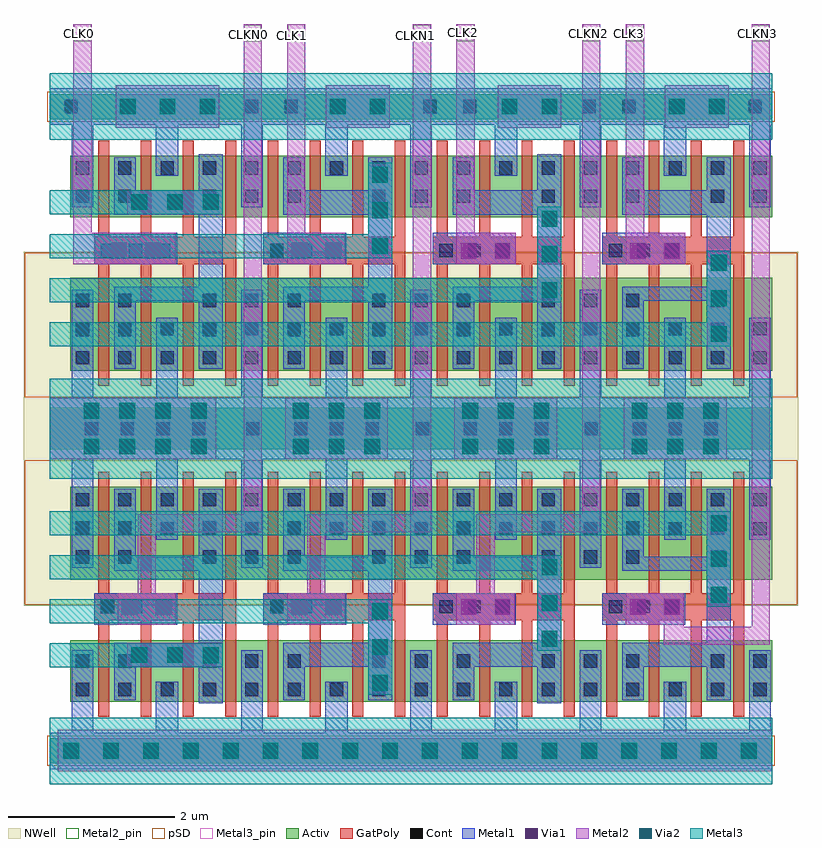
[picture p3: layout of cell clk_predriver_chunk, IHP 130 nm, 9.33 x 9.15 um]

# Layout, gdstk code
import gdstk
lib = gdstk.Library(unit=1e-6, precision=1e-09)
def R(c, l, rs):  # rectangles x0, y0, x1, y1
    for r in rs: c.add(gdstk.rectangle(r[:2], r[2:], *l))
def A(c, l, x, y, w, h, nx, ny, dx, dy):  # array of equal rectangles
    R(c, l, [(x+i*dx, y+j*dy, x+i*dx+w, y+j*dy+h) for i in range(nx) for j in range(ny)])
def P(c, l, *ps):  # polygons
    for p in ps: c.add(gdstk.Polygon(p, *l))
Activ = (1, 0)
GatPoly = (5, 0)
Cont = (6, 0)
Metal1 = (8, 0)
Metal2 = (10, 0)
Metal2_pin = (10, 2)
pSD = (14, 0)
Via1 = (19, 0)
Via2 = (29, 0)
Metal3 = (30, 0)
Metal3_pin = (30, 2)
NWell = (31, 0)

clk_predriver_chunk = lib.new_cell('clk_predriver_chunk')
A(clk_predriver_chunk, Activ, 0.245, -0.415, 2.34, 0.74, 4, 2, 2.04, 5.84)
A(clk_predriver_chunk, Activ, 0.245, 1.055, 2.34, 1.12, 4, 2, 2.04, 2.52)
R(clk_predriver_chunk, Activ, [(0,-1.155,8.705,-0.855), (0,2.625,8.705,3.125), (0,2.625,8.705,3.125), (0,6.605,8.705,6.905)])
P(clk_predriver_chunk, GatPoly, [(4.665,3.395),(4.665,4.855),(4.615,4.855),(4.615,5.185),(4.665,5.185),(4.665,6.345),(4.795,6.345),(4.795,5.185),(5.175,5.185),(5.175,6.345),(5.305,6.345),(5.305,5.185),(5.685,5.185),(5.685,6.345),(5.815,6.345),(5.815,5.185),(6.195,5.185),(6.195,6.345),(6.325,6.345),(6.325,3.395),(6.195,3.395),(6.195,4.855),(5.815,4.855),(5.815,3.395),(5.685,3.395),(5.685,4.855),(5.305,4.855),(5.305,3.395),(5.175,3.395),(5.175,4.855),(4.795,4.855),(4.795,3.395)],
  [(6.705,3.395),(6.705,4.855),(6.655,4.855),(6.655,5.185),(6.705,5.185),(6.705,6.345),(6.835,6.345),(6.835,5.185),(7.215,5.185),(7.215,6.345),(7.345,6.345),(7.345,5.185),(7.725,5.185),(7.725,6.345),(7.855,6.345),(7.855,5.185),(8.235,5.185),(8.235,6.345),(8.365,6.345),(8.365,3.395),(8.235,3.395),(8.235,4.855),(7.855,4.855),(7.855,3.395),(7.725,3.395),(7.725,4.855),(7.345,4.855),(7.345,3.395),(7.215,3.395),(7.215,4.855),(6.835,4.855),(6.835,3.395)],
  [(0.585,-0.595),(0.585,0.565),(0.535,0.565),(0.535,0.895),(0.585,0.895),(0.585,2.355),(0.715,2.355),(0.715,0.895),(1.095,0.895),(1.095,2.355),(1.225,2.355),(1.225,0.895),(1.605,0.895),(1.605,2.355),(1.735,2.355),(1.735,0.895),(2.115,0.895),(2.115,2.355),(2.245,2.355),(2.245,-0.595),(2.115,-0.595),(2.115,0.565),(1.735,0.565),(1.735,-0.595),(1.605,-0.595),(1.605,0.565),(1.225,0.565),(1.225,-0.595),(1.095,-0.595),(1.095,0.565),(0.715,0.565),(0.715,-0.595)],
  [(2.625,3.395),(2.625,4.855),(2.575,4.855),(2.575,5.185),(2.625,5.185),(2.625,6.345),(2.755,6.345),(2.755,5.185),(3.135,5.185),(3.135,6.345),(3.265,6.345),(3.265,5.185),(3.645,5.185),(3.645,6.345),(3.775,6.345),(3.775,5.185),(4.155,5.185),(4.155,6.345),(4.285,6.345),(4.285,3.395),(4.155,3.395),(4.155,4.855),(3.775,4.855),(3.775,3.395),(3.645,3.395),(3.645,4.855),(3.265,4.855),(3.265,3.395),(3.135,3.395),(3.135,4.855),(2.755,4.855),(2.755,3.395)],
  [(4.665,-0.595),(4.665,0.565),(4.615,0.565),(4.615,0.895),(4.665,0.895),(4.665,2.355),(4.795,2.355),(4.795,0.895),(5.175,0.895),(5.175,2.355),(5.305,2.355),(5.305,0.895),(5.685,0.895),(5.685,2.355),(5.815,2.355),(5.815,0.895),(6.195,0.895),(6.195,2.355),(6.325,2.355),(6.325,-0.595),(6.195,-0.595),(6.195,0.565),(5.815,0.565),(5.815,-0.595),(5.685,-0.595),(5.685,0.565),(5.305,0.565),(5.305,-0.595),(5.175,-0.595),(5.175,0.565),(4.795,0.565),(4.795,-0.595)],
  [(6.705,-0.595),(6.705,0.565),(6.655,0.565),(6.655,0.895),(6.705,0.895),(6.705,2.355),(6.835,2.355),(6.835,0.895),(7.215,0.895),(7.215,2.355),(7.345,2.355),(7.345,0.895),(7.725,0.895),(7.725,2.355),(7.855,2.355),(7.855,0.895),(8.235,0.895),(8.235,2.355),(8.365,2.355),(8.365,-0.595),(8.235,-0.595),(8.235,0.565),(7.855,0.565),(7.855,-0.595),(7.725,-0.595),(7.725,0.565),(7.345,0.565),(7.345,-0.595),(7.215,-0.595),(7.215,0.565),(6.835,0.565),(6.835,-0.595)],
  [(0.585,3.395),(0.585,4.855),(0.535,4.855),(0.535,5.185),(0.585,5.185),(0.585,6.345),(0.715,6.345),(0.715,5.185),(1.095,5.185),(1.095,6.345),(1.225,6.345),(1.225,5.185),(1.605,5.185),(1.605,6.345),(1.735,6.345),(1.735,5.185),(2.115,5.185),(2.115,6.345),(2.245,6.345),(2.245,3.395),(2.115,3.395),(2.115,4.855),(1.735,4.855),(1.735,3.395),(1.605,3.395),(1.605,4.855),(1.225,4.855),(1.225,3.395),(1.095,3.395),(1.095,4.855),(0.715,4.855),(0.715,3.395)],
  [(2.625,-0.595),(2.625,0.565),(2.575,0.565),(2.575,0.895),(2.625,0.895),(2.625,2.355),(2.755,2.355),(2.755,0.895),(3.135,0.895),(3.135,2.355),(3.265,2.355),(3.265,0.895),(3.645,0.895),(3.645,2.355),(3.775,2.355),(3.775,0.895),(4.155,0.895),(4.155,2.355),(4.285,2.355),(4.285,-0.595),(4.155,-0.595),(4.155,0.565),(3.775,0.565),(3.775,-0.595),(3.645,-0.595),(3.645,0.565),(3.265,0.565),(3.265,-0.595),(3.135,-0.595),(3.135,0.565),(2.755,0.565),(2.755,-0.595)])
A(clk_predriver_chunk, Cont, 0.18, -1.085, 0.16, 0.16, 18, 1, 0.48, 0)
A(clk_predriver_chunk, Cont, 0.315, -0.345, 0.16, 0.16, 17, 2, 0.51, 2.285)
A(clk_predriver_chunk, Cont, 1.845, -0.005, 0.16, 0.16, 3, 2, 0.51, 1.255)
A(clk_predriver_chunk, Cont, 3.885, -0.005, 0.16, 0.16, 3, 2, 0.51, 1.255)
A(clk_predriver_chunk, Cont, 5.925, -0.005, 0.16, 0.16, 3, 2, 0.51, 1.255)
A(clk_predriver_chunk, Cont, 0.615, 0.65, 0.16, 0.16, 3, 2, 0.34, 4.29)
A(clk_predriver_chunk, Cont, 2.655, 0.65, 0.16, 0.16, 3, 2, 0.34, 4.29)
A(clk_predriver_chunk, Cont, 4.695, 0.65, 0.16, 0.16, 3, 2, 0.34, 4.29)
A(clk_predriver_chunk, Cont, 6.735, 0.65, 0.16, 0.16, 3, 2, 0.34, 4.29)
A(clk_predriver_chunk, Cont, 1.335, 1.59, 0.16, 0.16, 8, 2, 1.02, 2.41)
A(clk_predriver_chunk, Cont, 0.825, 1.6, 0.16, 0.16, 8, 2, 1.02, 2.39)
A(clk_predriver_chunk, Cont, 0.425, 2.795, 0.16, 0.16, 4, 1, 0.43, 0)
A(clk_predriver_chunk, Cont, 2.945, 2.795, 0.16, 0.16, 3, 1, 0.43, 0)
A(clk_predriver_chunk, Cont, 4.985, 2.795, 0.16, 0.16, 3, 1, 0.43, 0)
A(clk_predriver_chunk, Cont, 7.025, 2.795, 0.16, 0.16, 3, 1, 0.43, 0)
A(clk_predriver_chunk, Cont, 0.315, 3.65, 0.16, 0.16, 17, 2, 0.51, 2.285)
A(clk_predriver_chunk, Cont, 1.845, 4.34, 0.16, 0.16, 3, 2, 0.51, 1.255)
A(clk_predriver_chunk, Cont, 3.885, 4.34, 0.16, 0.16, 3, 2, 0.51, 1.255)
A(clk_predriver_chunk, Cont, 5.925, 4.34, 0.16, 0.16, 3, 2, 0.51, 1.255)
A(clk_predriver_chunk, Cont, 0.86, 6.675, 0.16, 0.16, 3, 1, 0.48, 0)
A(clk_predriver_chunk, Cont, 4.5, 6.675, 0.16, 0.16, 6, 1, 0.48, 0)
R(clk_predriver_chunk, Cont, [(0.315,-0.005,0.475,0.155), (0.825,-0.005,0.985,0.155), (7.965,-0.005,8.125,0.155), (8.475,-0.005,8.635,0.155), (0.315,1.25,0.475,1.41), (0.825,1.25,0.985,1.41), (7.965,1.25,8.125,1.41), (0.315,1.6,0.475,1.76), (2.365,2.795,2.525,2.955), (4.41,2.795,4.57,2.955), (6.445,2.795,6.605,2.955), (0.315,3.99,0.475,4.15), (0.315,4.34,0.475,4.5), (0.825,4.34,0.985,4.5), (7.965,4.34,8.125,4.5), (0.315,5.595,0.475,5.755), (0.825,5.595,0.985,5.755), (7.965,5.595,8.125,5.755), (8.475,5.595,8.635,5.755), (0.18,6.675,0.34,6.835), (2.35,6.675,2.51,6.835), (2.83,6.675,2.99,6.835), (3.39,6.675,3.55,6.835), (3.87,6.675,4.03,6.835), (7.475,6.675,7.635,6.835), (7.955,6.675,8.115,6.835), (8.42,6.675,8.58,6.835)])
A(clk_predriver_chunk, Metal1, 0.535, 0.515, 1, 0.38, 4, 2, 2.04, 4.34)
P(clk_predriver_chunk, Metal1, [(0.265,1.2),(0.265,2.505),(0,2.505),(0,3.245),(0.265,3.245),(0.265,4.55),(0.525,4.55),(0.525,3.245),(1.285,3.245),(1.285,4.21),(1.545,4.21),(1.545,3.245),(2.305,3.245),(2.305,4.55),(2.565,4.55),(2.565,3.245),(3.325,3.245),(3.325,4.21),(3.585,4.21),(3.585,3.245),(4.345,3.245),(4.345,4.55),(4.605,4.55),(4.605,3.245),(5.365,3.245),(5.365,4.21),(5.625,4.21),(5.625,3.245),(6.385,3.245),(6.385,4.55),(6.645,4.55),(6.645,3.245),(7.405,3.245),(7.405,4.21),(7.665,4.21),(7.665,3.245),(8.425,3.245),(8.425,4.21),(8.685,4.21),(8.685,3.245),(8.705,3.245),(8.705,2.505),(8.685,2.505),(8.685,1.54),(8.425,1.54),(8.425,2.505),(7.665,2.505),(7.665,1.54),(7.405,1.54),(7.405,2.505),(6.645,2.505),(6.645,1.2),(6.385,1.2),(6.385,2.505),(5.625,2.505),(5.625,1.54),(5.365,1.54),(5.365,2.505),(4.605,2.505),(4.605,1.2),(4.345,1.2),(4.345,2.505),(3.585,2.505),(3.585,1.54),(3.325,1.54),(3.325,2.505),(2.565,2.505),(2.565,1.2),(2.305,1.2),(2.305,2.505),(1.545,2.505),(1.545,1.54),(1.285,1.54),(1.285,2.505),(0.525,2.505),(0.525,1.2)],
  [(0.775,3.6),(0.775,4.585),(1.795,4.585),(1.795,5.455),(0.775,5.455),(0.775,6.145),(1.035,6.145),(1.035,5.745),(1.795,5.745),(1.795,6.18),(2.085,6.18),(2.085,4.415),(2.085,3.6),(1.795,3.6),(1.795,4.415),(1.035,4.415),(1.035,3.6)],
  [(2.815,3.6),(2.815,4.585),(3.835,4.585),(3.835,5.455),(2.815,5.455),(2.815,6.145),(3.075,6.145),(3.075,5.745),(3.835,5.745),(3.835,6.145),(4.125,6.145),(4.125,4.415),(4.125,3.6),(3.835,3.6),(3.835,4.415),(3.075,4.415),(3.075,3.6)],
  [(4.855,3.6),(4.855,4.585),(5.875,4.585),(5.875,5.455),(4.855,5.455),(4.855,6.145),(5.115,6.145),(5.115,5.745),(5.875,5.745),(5.875,6.18),(6.165,6.18),(6.165,4.415),(6.165,3.6),(5.875,3.6),(5.875,4.415),(5.115,4.415),(5.115,3.6)],
  [(6.895,3.6),(6.895,4.585),(7.915,4.585),(7.915,5.455),(6.895,5.455),(6.895,6.145),(7.155,6.145),(7.155,5.745),(7.915,5.745),(7.915,6.145),(8.205,6.145),(8.205,4.415),(8.205,3.6),(7.915,3.6),(7.915,4.415),(7.155,4.415),(7.155,3.6)],
  [(0.265,5.545),(0.265,6.535),(0,6.535),(0,6.975),(8.705,6.975),(8.705,6.535),(8.685,6.535),(8.685,5.545),(8.425,5.545),(8.425,6.535),(7.67,6.535),(7.67,5.925),(7.4,5.925),(7.4,6.535),(6.645,6.535),(6.645,5.545),(6.385,5.545),(6.385,6.535),(5.63,6.535),(5.63,5.925),(5.36,5.925),(5.36,6.535),(4.605,6.535),(4.605,5.545),(4.345,5.545),(4.345,6.535),(3.59,6.535),(3.59,5.925),(3.32,5.925),(3.32,6.535),(2.565,6.535),(2.565,5.545),(2.305,5.545),(2.305,6.535),(1.55,6.535),(1.55,5.925),(1.28,5.925),(1.28,6.535),(0.525,6.535),(0.525,5.545)],
  [(1.795,-0.43),(1.795,0.005),(1.035,0.005),(1.035,-0.395),(0.775,-0.395),(0.775,0.295),(1.795,0.295),(1.795,1.165),(0.775,1.165),(0.775,2.15),(1.035,2.15),(1.035,1.335),(1.795,1.335),(1.795,2.15),(2.085,2.15),(2.085,1.335),(2.085,-0.43)],
  [(2.815,-0.395),(2.815,0.295),(3.835,0.295),(3.835,1.165),(2.815,1.165),(2.815,2.15),(3.075,2.15),(3.075,1.335),(3.835,1.335),(3.835,2.15),(4.125,2.15),(4.125,1.335),(4.125,-0.395),(3.835,-0.395),(3.835,0.005),(3.075,0.005),(3.075,-0.395)],
  [(5.875,-0.43),(5.875,0.005),(5.115,0.005),(5.115,-0.395),(4.855,-0.395),(4.855,0.295),(5.875,0.295),(5.875,1.165),(4.855,1.165),(4.855,2.15),(5.115,2.15),(5.115,1.335),(5.875,1.335),(5.875,2.15),(6.165,2.15),(6.165,1.335),(6.165,-0.43)],
  [(6.895,-0.395),(6.895,0.295),(7.915,0.295),(7.915,1.165),(6.895,1.165),(6.895,2.15),(7.155,2.15),(7.155,1.335),(7.915,1.335),(7.915,2.15),(8.205,2.15),(8.205,1.335),(8.205,-0.395),(7.915,-0.395),(7.915,0.005),(7.155,0.005),(7.155,-0.395)],
  [(0,-1.225),(0,-0.785),(0.265,-0.785),(0.265,0.205),(0.525,0.205),(0.525,-0.785),(1.28,-0.785),(1.28,-0.175),(1.55,-0.175),(1.55,-0.785),(2.305,-0.785),(2.305,0.205),(2.565,0.205),(2.565,-0.785),(3.32,-0.785),(3.32,-0.175),(3.59,-0.175),(3.59,-0.785),(4.345,-0.785),(4.345,0.205),(4.605,0.205),(4.605,-0.785),(5.36,-0.785),(5.36,-0.175),(5.63,-0.175),(5.63,-0.785),(6.385,-0.785),(6.385,0.205),(6.645,0.205),(6.645,-0.785),(7.4,-0.785),(7.4,-0.175),(7.67,-0.175),(7.67,-0.785),(8.425,-0.785),(8.425,0.205),(8.685,0.205),(8.685,-0.785),(8.705,-0.785),(8.705,-1.225)])
A(clk_predriver_chunk, Metal2, 2.835, 2.505, 1.24, 0.74, 3, 1, 2.04, 0)
R(clk_predriver_chunk, Metal2, [(0.095,-1.25,8.705,-0.75), (3.835,-0.33,4.125,0.82), (0.935,0.005,2.085,0.295), (5.875,0.2,6.165,1.35), (7.915,0.73,8.205,1.88), (0,2.505,2.005,3.245), (7.915,3.87,8.205,5.02), (5.875,4.4,6.165,5.55), (3.835,4.93,4.125,6.08), (0.795,6.5,2.045,7.015), (3.325,6.5,4.095,7.015), (5.395,6.5,6.165,7.015), (7.41,6.5,8.18,7.015)])
P(clk_predriver_chunk, Metal2, [(0.285,4.855),(0.285,7.75),(0.505,7.75),(0.505,5.235),(1.52,5.235),(1.52,4.855)],
  [(0.935,5.455),(0.935,5.745),(1.795,5.745),(1.795,5.75),(2.085,5.75),(2.085,5.455)],
  [(2.86,0.515),(2.86,0.895),(3.1,0.895),(3.1,1.845),(4.375,1.845),(4.375,7.75),(4.595,7.75),(4.595,1.625),(3.32,1.625),(3.32,0.895),(3.56,0.895),(3.56,0.515)],
  [(0.82,0.515),(0.82,0.895),(1.06,0.895),(1.06,1.845),(2.335,1.845),(2.335,7.75),(2.555,7.75),(2.555,1.625),(1.28,1.625),(1.28,0.895),(1.52,0.895),(1.52,0.515)],
  [(4.9,0.515),(4.9,0.895),(5.14,0.895),(5.14,1.845),(6.415,1.845),(6.415,7.75),(6.635,7.75),(6.635,1.625),(5.36,1.625),(5.36,0.895),(5.6,0.895),(5.6,0.515)],
  [(4.9,4.855),(4.9,5.235),(4.9,7.75),(5.12,7.75),(5.12,5.235),(5.615,5.235),(5.615,4.855)],
  [(7.395,0.27),(7.395,0.515),(6.94,0.515),(6.94,0.895),(7.64,0.895),(7.64,0.49),(8.455,0.49),(8.455,7.75),(8.675,7.75),(8.675,0.27)],
  [(2.86,4.855),(2.86,5.235),(2.86,7.75),(3.08,7.75),(3.08,5.235),(3.56,5.235),(3.56,4.855)],
  [(6.94,4.855),(6.94,5.235),(6.94,7.75),(7.16,7.75),(7.16,5.235),(7.655,5.235),(7.655,4.855)])
R(clk_predriver_chunk, Metal2_pin, [(2.34,7.54,2.55,7.74), (4.38,7.54,4.59,7.74), (8.46,7.54,8.67,7.74), (0.29,7.545,0.5,7.745), (2.865,7.545,3.075,7.745), (4.905,7.545,5.115,7.745), (6.42,7.545,6.63,7.745), (6.945,7.545,7.155,7.745)])
R(clk_predriver_chunk, pSD, [(-0.03,-1.185,8.735,-0.825), (-0.3,0.755,9.005,2.495), (-0.3,3.255,9.005,4.995), (-0.03,6.575,8.735,6.935)])
A(clk_predriver_chunk, Via1, 0.165, -1.1, 0.19, 0.19, 18, 1, 0.48, 0)
A(clk_predriver_chunk, Via1, 3.885, -0.28, 0.19, 0.19, 1, 3, 0, 0.43)
A(clk_predriver_chunk, Via1, 5.925, 0.25, 0.19, 0.19, 1, 3, 0, 0.43)
A(clk_predriver_chunk, Via1, 7.965, 0.78, 0.19, 0.19, 1, 3, 0, 0.43)
A(clk_predriver_chunk, Via1, 0.41, 2.565, 0.19, 0.19, 4, 2, 0.43, 0.43)
A(clk_predriver_chunk, Via1, 2.93, 2.565, 0.19, 0.19, 3, 2, 0.43, 0.43)
A(clk_predriver_chunk, Via1, 4.97, 2.565, 0.19, 0.19, 3, 2, 0.43, 0.43)
A(clk_predriver_chunk, Via1, 7.01, 2.565, 0.19, 0.19, 3, 2, 0.43, 0.43)
A(clk_predriver_chunk, Via1, 7.965, 3.92, 0.19, 0.19, 1, 3, 0, 0.43)
A(clk_predriver_chunk, Via1, 5.925, 4.45, 0.19, 0.19, 1, 3, 0, 0.43)
A(clk_predriver_chunk, Via1, 3.885, 4.98, 0.19, 0.19, 1, 3, 0, 0.43)
A(clk_predriver_chunk, Via1, 0.985, 5.51, 0.19, 0.19, 3, 1, 0.43, 0)
A(clk_predriver_chunk, Via1, 0.845, 6.66, 0.19, 0.19, 3, 1, 0.48, 0)
R(clk_predriver_chunk, Via1, [(1.845,0.05,2.035,0.24), (0.985,0.055,1.175,0.245), (1.415,0.055,1.605,0.245), (0.87,0.635,1.06,0.825), (1.28,0.635,1.47,0.825), (2.91,0.635,3.1,0.825), (3.32,0.635,3.51,0.825), (4.95,0.635,5.14,0.825), (5.36,0.635,5.55,0.825), (6.99,0.635,7.18,0.825), (7.4,0.635,7.59,0.825), (0.74,4.925,0.93,5.115), (1.15,4.925,1.34,5.115), (2.91,4.925,3.1,5.115), (3.32,4.925,3.51,5.115), (4.95,4.925,5.14,5.115), (5.36,4.925,5.55,5.115), (6.99,4.925,7.18,5.115), (7.4,4.925,7.59,5.115), (0.985,5.51,1.175,5.7), (3.375,6.66,3.565,6.85), (3.855,6.66,4.045,6.85), (5.445,6.66,5.635,6.85), (5.925,6.66,6.115,6.85), (7.46,6.66,7.65,6.85), (7.94,6.66,8.13,6.85)])
A(clk_predriver_chunk, Via2, 0.165, -1.1, 0.19, 0.19, 18, 1, 0.48, 0)
A(clk_predriver_chunk, Via2, 3.885, -0.28, 0.19, 0.19, 1, 3, 0, 0.43)
A(clk_predriver_chunk, Via2, 5.925, 0.25, 0.19, 0.19, 1, 3, 0, 0.43)
A(clk_predriver_chunk, Via2, 7.965, 0.78, 0.19, 0.19, 1, 3, 0, 0.43)
A(clk_predriver_chunk, Via2, 0.41, 2.565, 0.19, 0.19, 4, 2, 0.43, 0.43)
A(clk_predriver_chunk, Via2, 2.93, 2.565, 0.19, 0.19, 3, 2, 0.43, 0.43)
A(clk_predriver_chunk, Via2, 4.97, 2.565, 0.19, 0.19, 3, 2, 0.43, 0.43)
A(clk_predriver_chunk, Via2, 7.01, 2.565, 0.19, 0.19, 3, 2, 0.43, 0.43)
A(clk_predriver_chunk, Via2, 7.965, 3.92, 0.19, 0.19, 1, 3, 0, 0.43)
A(clk_predriver_chunk, Via2, 5.925, 4.45, 0.19, 0.19, 1, 3, 0, 0.43)
A(clk_predriver_chunk, Via2, 3.885, 4.98, 0.19, 0.19, 1, 3, 0, 0.43)
A(clk_predriver_chunk, Via2, 0.985, 5.51, 0.19, 0.19, 3, 1, 0.43, 0)
A(clk_predriver_chunk, Via2, 0.845, 6.66, 0.19, 0.19, 3, 1, 0.48, 0)
R(clk_predriver_chunk, Via2, [(1.845,0.05,2.035,0.24), (0.985,0.055,1.175,0.245), (1.415,0.055,1.605,0.245), (3.375,6.66,3.565,6.85), (3.855,6.66,4.045,6.85), (5.445,6.66,5.635,6.85), (5.925,6.66,6.115,6.85), (7.46,6.66,7.65,6.85), (7.94,6.66,8.13,6.85)])
R(clk_predriver_chunk, Metal3, [(0,-1.405,8.705,-0.605), (0,0,2.085,0.29), (0,2.275,8.705,3.475), (0,5.46,2.085,5.75), (0,6.355,8.705,7.155)])
P(clk_predriver_chunk, Metal3, [(0,4.93),(0,5.22),(3.835,5.22),(3.835,6.08),(4.125,6.08),(4.125,4.93)],
  [(0,3.87),(0,4.16),(7.915,4.16),(7.915,5.02),(8.205,5.02),(8.205,3.87)],
  [(0,4.4),(0,4.69),(5.875,4.69),(5.875,5.55),(6.165,5.55),(6.165,4.4)],
  [(5.875,0.2),(5.875,1.06),(0,1.06),(0,1.35),(6.165,1.35),(6.165,0.2)],
  [(3.835,-0.33),(3.835,0.53),(0,0.53),(0,0.82),(4.125,0.82),(4.125,-0.33)],
  [(7.915,0.73),(7.915,1.59),(0,1.59),(0,1.88),(8.205,1.88),(8.205,0.73)])
R(clk_predriver_chunk, Metal3_pin, [(0,-1.405,8.705,-0.605), (0,2.275,8.705,3.475), (0,6.355,8.705,7.155)])
R(clk_predriver_chunk, NWell, [(-0.31,0.745,9.015,5.005)])
clk_predriver_chunk.add(gdstk.Label('CLK0', (0.36,7.635), layer=10, texttype=25))
clk_predriver_chunk.add(gdstk.Label('CLKN0', (2.39,7.625), layer=10, texttype=25))
clk_predriver_chunk.add(gdstk.Label('CLK1', (2.925,7.615), layer=10, texttype=25))
clk_predriver_chunk.add(gdstk.Label('CLKN1', (4.41,7.615), layer=10, texttype=25))
clk_predriver_chunk.add(gdstk.Label('CLK2', (4.98,7.645), layer=10, texttype=25))
clk_predriver_chunk.add(gdstk.Label('CLKN2', (6.495,7.63), layer=10, texttype=25))
clk_predriver_chunk.add(gdstk.Label('CLK3', (6.99,7.64), layer=10, texttype=25))
clk_predriver_chunk.add(gdstk.Label('CLKN3', (8.53,7.63), layer=10, texttype=25))

lib.write_gds('clk_predriver_chunk.gds')
